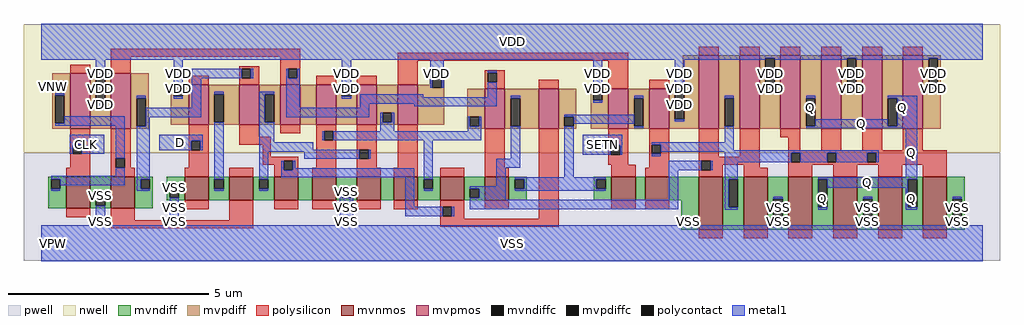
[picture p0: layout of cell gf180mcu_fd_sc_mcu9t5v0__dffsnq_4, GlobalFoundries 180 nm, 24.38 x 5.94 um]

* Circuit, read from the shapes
.subckt gf180mcu_fd_sc_mcu9t5v0__dffsnq_4 D SETN CLK Q VDD VNW VPW VSS
XM1 VSS CLK n1 VPW nfet_06v0 w=0.79u l=0.6u
XM2 n2 n1 VSS VPW nfet_06v0 w=0.79u l=0.6u
XM3 n3 D VSS VPW nfet_06v0 w=0.59u l=0.6u
XM4 n4 n1 n3 VPW nfet_06v0 w=0.59u l=0.6u
XM5 n5 n2 n4 VPW nfet_06v0 w=0.59u l=0.6u
XM6 VSS n6 n5 VPW nfet_06v0 w=0.59u l=0.6u
XM7 n7 n4 VSS VPW nfet_06v0 w=0.59u l=0.6u
XM8 n6 SETN n7 VPW nfet_06v0 w=0.59u l=0.6u
XM9 n8 n2 n6 VPW nfet_06v0 w=0.59u l=0.6u
XM10 n9 n1 n8 VPW nfet_06v0 w=0.59u l=0.6u
XM11 n10 SETN n9 VPW nfet_06v0 w=0.59u l=0.6u
XM12 VSS n11 n10 VPW nfet_06v0 w=0.59u l=0.6u
XM13 n11 n8 VSS VPW nfet_06v0 w=1.32u l=0.6u m=2
XM14 Q n11 VSS VPW nfet_06v0 w=1.32u l=0.6u m=4
XM15 VDD CLK n1 VNW pfet_06v0 w=1.38u l=0.5u
XM16 n2 n1 VDD VNW pfet_06v0 w=1.38u l=0.5u
XM17 n3 D VDD VNW pfet_06v0 w=1u l=0.5u
XM18 n4 n2 n3 VNW pfet_06v0 w=1u l=0.5u
XM19 n12 n1 n4 VNW pfet_06v0 w=1u l=0.5u
XM20 VDD n6 n12 VNW pfet_06v0 w=1u l=0.5u
XM21 n6 n4 VDD VNW pfet_06v0 w=1u l=0.5u
XM22 VDD SETN n6 VNW pfet_06v0 w=1u l=0.5u
XM23 n8 n1 n6 VNW pfet_06v0 w=1u l=0.5u
XM24 n9 n2 n8 VNW pfet_06v0 w=1u l=0.5u
XM25 n9 SETN VDD VNW pfet_06v0 w=1u l=0.5u
XM26 VDD n11 n9 VNW pfet_06v0 w=1u l=0.5u
XM27 n11 n8 VDD VNW pfet_06v0 w=1.83u l=0.5u m=2
XM28 Q n11 VDD VNW pfet_06v0 w=1.83u l=0.5u m=4
.ends

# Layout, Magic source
magic
tech gf180mcuD
magscale 1 10
<< nwell >>
rect -86 453 4790 1094
<< pwell >>
rect -86 -86 4790 453
<< mvnmos >>
rect 124 175 244 333
rect 348 175 468 333
rect 716 215 836 333
rect 940 215 1060 333
rect 1164 215 1284 333
rect 1353 215 1473 333
rect 1577 215 1697 333
rect 1761 215 1881 333
rect 1993 215 2113 333
rect 2217 215 2337 333
rect 2849 215 2969 333
rect 3017 215 3137 333
rect 3285 69 3405 333
rect 3509 69 3629 333
rect 3733 69 3853 333
rect 3957 69 4077 333
rect 4181 69 4301 333
rect 4405 69 4525 333
<< mvpmos >>
rect 144 573 244 849
rect 348 573 448 849
rect 736 593 836 793
rect 989 593 1089 793
rect 1193 593 1293 793
rect 1373 593 1473 793
rect 1577 593 1677 793
rect 1781 593 1881 793
rect 2217 573 2317 773
rect 2485 573 2585 773
rect 2833 573 2933 773
rect 3037 573 3137 773
rect 3285 573 3385 939
rect 3489 573 3589 939
rect 3693 573 3793 939
rect 3897 573 3997 939
rect 4101 573 4201 939
rect 4305 573 4405 939
<< mvndiff >>
rect 36 320 124 333
rect 36 274 49 320
rect 95 274 124 320
rect 36 175 124 274
rect 244 234 348 333
rect 244 188 273 234
rect 319 188 348 234
rect 244 175 348 188
rect 468 320 556 333
rect 468 274 497 320
rect 543 274 556 320
rect 468 175 556 274
rect 628 274 716 333
rect 628 228 641 274
rect 687 228 716 274
rect 628 215 716 228
rect 836 320 940 333
rect 836 274 865 320
rect 911 274 940 320
rect 836 215 940 274
rect 1060 320 1164 333
rect 1060 274 1089 320
rect 1135 274 1164 320
rect 1060 215 1164 274
rect 1284 215 1353 333
rect 1473 274 1577 333
rect 1473 228 1502 274
rect 1548 228 1577 274
rect 1473 215 1577 228
rect 1697 215 1761 333
rect 1881 320 1993 333
rect 1881 274 1910 320
rect 1956 274 1993 320
rect 1881 215 1993 274
rect 2113 274 2217 333
rect 2113 228 2142 274
rect 2188 228 2217 274
rect 2113 215 2217 228
rect 2337 320 2425 333
rect 2337 274 2366 320
rect 2412 274 2425 320
rect 2337 215 2425 274
rect 2761 320 2849 333
rect 2761 274 2774 320
rect 2820 274 2849 320
rect 2761 215 2849 274
rect 2969 215 3017 333
rect 3137 215 3285 333
rect 3197 128 3285 215
rect 3197 82 3210 128
rect 3256 82 3285 128
rect 3197 69 3285 82
rect 3405 320 3509 333
rect 3405 180 3434 320
rect 3480 180 3509 320
rect 3405 69 3509 180
rect 3629 222 3733 333
rect 3629 82 3658 222
rect 3704 82 3733 222
rect 3629 69 3733 82
rect 3853 320 3957 333
rect 3853 180 3882 320
rect 3928 180 3957 320
rect 3853 69 3957 180
rect 4077 222 4181 333
rect 4077 82 4106 222
rect 4152 82 4181 222
rect 4077 69 4181 82
rect 4301 320 4405 333
rect 4301 180 4330 320
rect 4376 180 4405 320
rect 4301 69 4405 180
rect 4525 222 4613 333
rect 4525 82 4554 222
rect 4600 82 4613 222
rect 4525 69 4613 82
<< mvpdiff >>
rect 56 739 144 849
rect 56 599 69 739
rect 115 599 144 739
rect 56 573 144 599
rect 244 836 348 849
rect 244 696 273 836
rect 319 696 348 836
rect 244 573 348 696
rect 448 726 536 849
rect 1941 823 2013 836
rect 1941 793 1954 823
rect 448 586 477 726
rect 523 586 536 726
rect 648 780 736 793
rect 648 734 661 780
rect 707 734 736 780
rect 648 593 736 734
rect 836 746 989 793
rect 836 606 865 746
rect 911 606 989 746
rect 836 593 989 606
rect 1089 746 1193 793
rect 1089 606 1118 746
rect 1164 606 1193 746
rect 1089 593 1193 606
rect 1293 593 1373 793
rect 1473 780 1577 793
rect 1473 734 1502 780
rect 1548 734 1577 780
rect 1473 593 1577 734
rect 1677 652 1781 793
rect 1677 606 1706 652
rect 1752 606 1781 652
rect 1677 593 1781 606
rect 1881 777 1954 793
rect 2000 777 2013 823
rect 1881 593 2013 777
rect 3205 773 3285 939
rect 2129 632 2217 773
rect 448 573 536 586
rect 2129 586 2142 632
rect 2188 586 2217 632
rect 2129 573 2217 586
rect 2317 726 2485 773
rect 2317 586 2346 726
rect 2392 586 2485 726
rect 2317 573 2485 586
rect 2585 632 2673 773
rect 2585 586 2614 632
rect 2660 586 2673 632
rect 2585 573 2673 586
rect 2745 760 2833 773
rect 2745 714 2758 760
rect 2804 714 2833 760
rect 2745 573 2833 714
rect 2933 726 3037 773
rect 2933 586 2962 726
rect 3008 586 3037 726
rect 2933 573 3037 586
rect 3137 760 3285 773
rect 3137 620 3166 760
rect 3212 620 3285 760
rect 3137 573 3285 620
rect 3385 726 3489 939
rect 3385 586 3414 726
rect 3460 586 3489 726
rect 3385 573 3489 586
rect 3589 926 3693 939
rect 3589 786 3618 926
rect 3664 786 3693 926
rect 3589 573 3693 786
rect 3793 726 3897 939
rect 3793 586 3822 726
rect 3868 586 3897 726
rect 3793 573 3897 586
rect 3997 926 4101 939
rect 3997 786 4026 926
rect 4072 786 4101 926
rect 3997 573 4101 786
rect 4201 726 4305 939
rect 4201 586 4230 726
rect 4276 586 4305 726
rect 4201 573 4305 586
rect 4405 926 4493 939
rect 4405 786 4434 926
rect 4480 786 4493 926
rect 4405 573 4493 786
<< mvndiffc >>
rect 49 274 95 320
rect 273 188 319 234
rect 497 274 543 320
rect 641 228 687 274
rect 865 274 911 320
rect 1089 274 1135 320
rect 1502 228 1548 274
rect 1910 274 1956 320
rect 2142 228 2188 274
rect 2366 274 2412 320
rect 2774 274 2820 320
rect 3210 82 3256 128
rect 3434 180 3480 320
rect 3658 82 3704 222
rect 3882 180 3928 320
rect 4106 82 4152 222
rect 4330 180 4376 320
rect 4554 82 4600 222
<< mvpdiffc >>
rect 69 599 115 739
rect 273 696 319 836
rect 477 586 523 726
rect 661 734 707 780
rect 865 606 911 746
rect 1118 606 1164 746
rect 1502 734 1548 780
rect 1706 606 1752 652
rect 1954 777 2000 823
rect 2142 586 2188 632
rect 2346 586 2392 726
rect 2614 586 2660 632
rect 2758 714 2804 760
rect 2962 586 3008 726
rect 3166 620 3212 760
rect 3414 586 3460 726
rect 3618 786 3664 926
rect 3822 586 3868 726
rect 4026 786 4072 926
rect 4230 586 4276 726
rect 4434 786 4480 926
<< polysilicon >>
rect 348 933 1293 973
rect 144 849 244 893
rect 348 849 448 933
rect 989 872 1089 885
rect 736 793 836 837
rect 989 826 1002 872
rect 1048 826 1089 872
rect 989 793 1089 826
rect 1193 872 1293 933
rect 1193 826 1234 872
rect 1280 826 1293 872
rect 1781 913 2933 953
rect 3285 939 3385 983
rect 3489 939 3589 983
rect 3693 939 3793 983
rect 3897 939 3997 983
rect 4101 939 4201 983
rect 4305 939 4405 983
rect 1193 793 1293 826
rect 1373 793 1473 837
rect 1577 793 1677 837
rect 1781 793 1881 913
rect 2217 852 2317 865
rect 2217 806 2230 852
rect 2276 806 2317 852
rect 2217 773 2317 806
rect 2485 773 2585 817
rect 2833 773 2933 913
rect 3037 773 3137 817
rect 144 494 244 573
rect 144 448 157 494
rect 203 448 244 494
rect 144 377 244 448
rect 124 333 244 377
rect 348 425 448 573
rect 348 379 372 425
rect 418 379 448 425
rect 348 377 448 379
rect 736 512 836 593
rect 736 466 749 512
rect 795 466 836 512
rect 989 533 1089 593
rect 1193 549 1293 593
rect 1373 560 1473 593
rect 989 493 1147 533
rect 736 377 836 466
rect 1107 433 1147 493
rect 1373 514 1414 560
rect 1460 514 1473 560
rect 1107 412 1284 433
rect 1107 393 1211 412
rect 348 333 468 377
rect 716 333 836 377
rect 940 333 1060 377
rect 1164 366 1211 393
rect 1257 366 1284 412
rect 1373 377 1473 514
rect 1164 333 1284 366
rect 1353 333 1473 377
rect 1577 468 1677 593
rect 1577 422 1590 468
rect 1636 422 1677 468
rect 1577 377 1677 422
rect 1781 377 1881 593
rect 2217 377 2317 573
rect 1577 333 1697 377
rect 1761 333 1881 377
rect 1993 333 2113 377
rect 2217 333 2337 377
rect 124 131 244 175
rect 348 115 468 175
rect 716 171 836 215
rect 940 115 1060 215
rect 1164 171 1284 215
rect 1353 171 1473 215
rect 1577 171 1697 215
rect 1761 171 1881 215
rect 1993 182 2113 215
rect 348 75 1060 115
rect 1993 136 2006 182
rect 2052 136 2113 182
rect 2217 171 2337 215
rect 1993 123 2113 136
rect 2485 123 2585 573
rect 2833 490 2933 573
rect 2833 444 2846 490
rect 2892 444 2933 490
rect 2833 393 2933 444
rect 3037 493 3137 573
rect 3037 447 3050 493
rect 3096 447 3137 493
rect 2849 333 2969 393
rect 3037 377 3137 447
rect 3017 333 3137 377
rect 3285 433 3385 573
rect 3489 433 3589 573
rect 3693 529 3793 573
rect 3285 412 3589 433
rect 3285 366 3298 412
rect 3344 393 3589 412
rect 3344 366 3405 393
rect 3285 333 3405 366
rect 3509 377 3589 393
rect 3733 465 3793 529
rect 3897 465 3997 573
rect 4101 465 4201 573
rect 4305 465 4405 573
rect 3733 452 4525 465
rect 3733 406 3746 452
rect 3792 406 3926 452
rect 3972 406 4127 452
rect 4173 406 4525 452
rect 3733 393 4525 406
rect 3509 333 3629 377
rect 3733 333 3853 393
rect 3957 333 4077 393
rect 4181 333 4301 393
rect 4405 333 4525 393
rect 2849 171 2969 215
rect 3017 171 3137 215
rect 1993 83 2585 123
rect 3285 25 3405 69
rect 3509 25 3629 69
rect 3733 25 3853 69
rect 3957 25 4077 69
rect 4181 25 4301 69
rect 4405 25 4525 69
<< polycontact >>
rect 1002 826 1048 872
rect 1234 826 1280 872
rect 2230 806 2276 852
rect 157 448 203 494
rect 372 379 418 425
rect 749 466 795 512
rect 1414 514 1460 560
rect 1211 366 1257 412
rect 1590 422 1636 468
rect 2006 136 2052 182
rect 2846 444 2892 490
rect 3050 447 3096 493
rect 3298 366 3344 412
rect 3746 406 3792 452
rect 3926 406 3972 452
rect 4127 406 4173 452
<< metal1 >>
rect 0 926 4704 1098
rect 0 918 3618 926
rect 273 836 319 918
rect 69 739 115 750
rect 661 780 707 918
rect 273 685 319 696
rect 477 726 523 737
rect 115 599 418 634
rect 69 588 418 599
rect 142 494 314 542
rect 142 448 157 494
rect 203 448 314 494
rect 372 425 418 588
rect 372 337 418 379
rect 49 320 418 337
rect 95 291 418 320
rect 661 723 707 734
rect 753 826 1002 872
rect 1048 826 1059 872
rect 1223 826 1234 872
rect 1280 826 1291 872
rect 753 677 799 826
rect 523 631 799 677
rect 865 746 911 757
rect 523 586 543 631
rect 477 320 543 586
rect 589 512 806 542
rect 589 466 749 512
rect 795 466 806 512
rect 49 263 95 274
rect 477 274 497 320
rect 865 320 911 606
rect 477 263 543 274
rect 641 274 687 285
rect 273 234 319 245
rect 273 90 319 188
rect 865 263 911 274
rect 1089 746 1164 757
rect 1089 606 1118 746
rect 1223 677 1291 826
rect 1502 780 1548 918
rect 1943 823 2011 918
rect 1943 777 1954 823
rect 2000 777 2011 823
rect 2230 852 2276 863
rect 1502 723 1548 734
rect 1594 731 1909 744
rect 2230 731 2276 806
rect 2758 760 2804 918
rect 1594 698 2276 731
rect 1594 677 1640 698
rect 1864 685 2276 698
rect 2346 726 2392 737
rect 1223 631 1640 677
rect 1089 504 1164 606
rect 1695 606 1706 652
rect 1752 606 1763 652
rect 1695 560 1763 606
rect 2131 586 2142 632
rect 2188 586 2199 632
rect 2131 560 2199 586
rect 1403 514 1414 560
rect 1460 514 2199 560
rect 3166 760 3212 918
rect 3664 918 4026 926
rect 3618 775 3664 786
rect 4072 918 4434 926
rect 4026 775 4072 786
rect 4480 918 4704 926
rect 4434 775 4480 786
rect 2758 703 2804 714
rect 2962 726 3008 737
rect 1089 468 1358 504
rect 1089 458 1590 468
rect 1089 320 1135 458
rect 1313 422 1590 458
rect 1636 422 1647 468
rect 1200 366 1211 412
rect 1257 376 1268 412
rect 1257 366 1864 376
rect 1200 330 1864 366
rect 1089 263 1135 274
rect 641 90 687 228
rect 1491 228 1502 274
rect 1548 228 1559 274
rect 1491 90 1559 228
rect 1818 182 1864 330
rect 1910 320 1956 514
rect 2346 423 2392 586
rect 2274 377 2392 423
rect 2614 632 2962 643
rect 2660 597 2962 632
rect 2274 285 2320 377
rect 2614 331 2660 586
rect 3166 609 3212 620
rect 3414 726 3461 737
rect 2962 575 3008 586
rect 3460 586 3461 726
rect 2706 490 2903 542
rect 3414 504 3461 586
rect 3822 726 3868 737
rect 4230 726 4376 737
rect 3868 586 4230 621
rect 4276 586 4376 726
rect 3822 575 4376 586
rect 2706 444 2846 490
rect 2892 444 2903 490
rect 3050 493 3461 504
rect 3096 465 3461 493
rect 3096 458 4184 465
rect 3050 436 3096 447
rect 3415 452 4184 458
rect 3136 366 3298 412
rect 3344 366 3355 412
rect 3415 406 3746 452
rect 3792 406 3926 452
rect 3972 406 4127 452
rect 4173 406 4184 452
rect 1910 263 1956 274
rect 2142 274 2320 285
rect 2188 228 2320 274
rect 2366 320 2820 331
rect 2412 274 2774 320
rect 2366 263 2820 274
rect 2142 217 2320 228
rect 3136 217 3182 366
rect 1818 136 2006 182
rect 2052 136 2063 182
rect 2142 171 3182 217
rect 3415 320 3480 406
rect 4318 331 4376 575
rect 3415 180 3434 320
rect 3881 320 4376 331
rect 3415 169 3480 180
rect 3658 222 3704 233
rect 3199 90 3210 128
rect 0 82 3210 90
rect 3256 90 3267 128
rect 3256 82 3658 90
rect 3881 180 3882 320
rect 3928 279 4330 320
rect 3881 169 3928 180
rect 4106 222 4152 233
rect 3704 82 4106 90
rect 4318 180 4330 279
rect 4318 169 4376 180
rect 4554 222 4600 233
rect 4152 82 4554 90
rect 4600 82 4704 90
rect 0 -90 4704 82
<< labels >>
flabel metal1 s 142 448 314 542 0 FreeSans 200 0 0 0 CLK
port 3 nsew clock input
flabel metal1 s 589 466 806 542 0 FreeSans 200 0 0 0 D
port 1 nsew default input
flabel metal1 s 4230 621 4376 737 0 FreeSans 200 0 0 0 Q
port 4 nsew default output
flabel metal1 s 2706 444 2903 542 0 FreeSans 200 0 0 0 SETN
port 2 nsew default input
flabel metal1 s 0 918 4704 1098 0 FreeSans 200 0 0 0 VDD
port 5 nsew power bidirectional abutment
flabel metal1 s 641 274 687 285 0 FreeSans 200 0 0 0 VSS
port 8 nsew ground bidirectional abutment
flabel nwell s 10 734 110 834 0 FreeSans 400 0 0 0 VNW
port 6 nsew power bidirectional
flabel pwell s 10 -50 110 50 0 FreeSans 400 0 0 0 VPW
port 7 nsew ground bidirectional
rlabel metal1 s 3822 621 3868 737 1 Q
port 4 nsew default output
rlabel metal1 s 3822 575 4376 621 1 Q
port 4 nsew default output
rlabel metal1 s 4318 331 4376 575 1 Q
port 4 nsew default output
rlabel metal1 s 3881 279 4376 331 1 Q
port 4 nsew default output
rlabel metal1 s 4318 169 4376 279 1 Q
port 4 nsew default output
rlabel metal1 s 3881 169 3928 279 1 Q
port 4 nsew default output
rlabel metal1 s 4434 777 4480 918 1 VDD
port 5 nsew power bidirectional abutment
rlabel metal1 s 4026 777 4072 918 1 VDD
port 5 nsew power bidirectional abutment
rlabel metal1 s 3618 777 3664 918 1 VDD
port 5 nsew power bidirectional abutment
rlabel metal1 s 3166 777 3212 918 1 VDD
port 5 nsew power bidirectional abutment
rlabel metal1 s 2758 777 2804 918 1 VDD
port 5 nsew power bidirectional abutment
rlabel metal1 s 1943 777 2011 918 1 VDD
port 5 nsew power bidirectional abutment
rlabel metal1 s 1502 777 1548 918 1 VDD
port 5 nsew power bidirectional abutment
rlabel metal1 s 661 777 707 918 1 VDD
port 5 nsew power bidirectional abutment
rlabel metal1 s 273 777 319 918 1 VDD
port 5 nsew power bidirectional abutment
rlabel metal1 s 4434 775 4480 777 1 VDD
port 5 nsew power bidirectional abutment
rlabel metal1 s 4026 775 4072 777 1 VDD
port 5 nsew power bidirectional abutment
rlabel metal1 s 3618 775 3664 777 1 VDD
port 5 nsew power bidirectional abutment
rlabel metal1 s 3166 775 3212 777 1 VDD
port 5 nsew power bidirectional abutment
rlabel metal1 s 2758 775 2804 777 1 VDD
port 5 nsew power bidirectional abutment
rlabel metal1 s 1502 775 1548 777 1 VDD
port 5 nsew power bidirectional abutment
rlabel metal1 s 661 775 707 777 1 VDD
port 5 nsew power bidirectional abutment
rlabel metal1 s 273 775 319 777 1 VDD
port 5 nsew power bidirectional abutment
rlabel metal1 s 3166 723 3212 775 1 VDD
port 5 nsew power bidirectional abutment
rlabel metal1 s 2758 723 2804 775 1 VDD
port 5 nsew power bidirectional abutment
rlabel metal1 s 1502 723 1548 775 1 VDD
port 5 nsew power bidirectional abutment
rlabel metal1 s 661 723 707 775 1 VDD
port 5 nsew power bidirectional abutment
rlabel metal1 s 273 723 319 775 1 VDD
port 5 nsew power bidirectional abutment
rlabel metal1 s 3166 703 3212 723 1 VDD
port 5 nsew power bidirectional abutment
rlabel metal1 s 2758 703 2804 723 1 VDD
port 5 nsew power bidirectional abutment
rlabel metal1 s 273 703 319 723 1 VDD
port 5 nsew power bidirectional abutment
rlabel metal1 s 3166 685 3212 703 1 VDD
port 5 nsew power bidirectional abutment
rlabel metal1 s 273 685 319 703 1 VDD
port 5 nsew power bidirectional abutment
rlabel metal1 s 3166 609 3212 685 1 VDD
port 5 nsew power bidirectional abutment
rlabel metal1 s 1491 245 1559 274 1 VSS
port 8 nsew ground bidirectional abutment
rlabel metal1 s 641 245 687 274 1 VSS
port 8 nsew ground bidirectional abutment
rlabel metal1 s 1491 233 1559 245 1 VSS
port 8 nsew ground bidirectional abutment
rlabel metal1 s 641 233 687 245 1 VSS
port 8 nsew ground bidirectional abutment
rlabel metal1 s 273 233 319 245 1 VSS
port 8 nsew ground bidirectional abutment
rlabel metal1 s 4554 128 4600 233 1 VSS
port 8 nsew ground bidirectional abutment
rlabel metal1 s 4106 128 4152 233 1 VSS
port 8 nsew ground bidirectional abutment
rlabel metal1 s 3658 128 3704 233 1 VSS
port 8 nsew ground bidirectional abutment
rlabel metal1 s 1491 128 1559 233 1 VSS
port 8 nsew ground bidirectional abutment
rlabel metal1 s 641 128 687 233 1 VSS
port 8 nsew ground bidirectional abutment
rlabel metal1 s 273 128 319 233 1 VSS
port 8 nsew ground bidirectional abutment
rlabel metal1 s 4554 90 4600 128 1 VSS
port 8 nsew ground bidirectional abutment
rlabel metal1 s 4106 90 4152 128 1 VSS
port 8 nsew ground bidirectional abutment
rlabel metal1 s 3658 90 3704 128 1 VSS
port 8 nsew ground bidirectional abutment
rlabel metal1 s 3199 90 3267 128 1 VSS
port 8 nsew ground bidirectional abutment
rlabel metal1 s 1491 90 1559 128 1 VSS
port 8 nsew ground bidirectional abutment
rlabel metal1 s 641 90 687 128 1 VSS
port 8 nsew ground bidirectional abutment
rlabel metal1 s 273 90 319 128 1 VSS
port 8 nsew ground bidirectional abutment
rlabel metal1 s 0 -90 4704 90 1 VSS
port 8 nsew ground bidirectional abutment
<< properties >>
string FIXED_BBOX 0 0 4704 1008
string GDS_END 693442
string GDS_FILE $PDKPATH/libs.ref/gf180mcu_fd_sc_mcu9t5v0/gds/gf180mcu_fd_sc_mcu9t5v0.gds
string GDS_START 683132
string LEFclass core
string LEFsite GF018hv5v_green_sc9
string LEFsymmetry X Y
<< end >>
